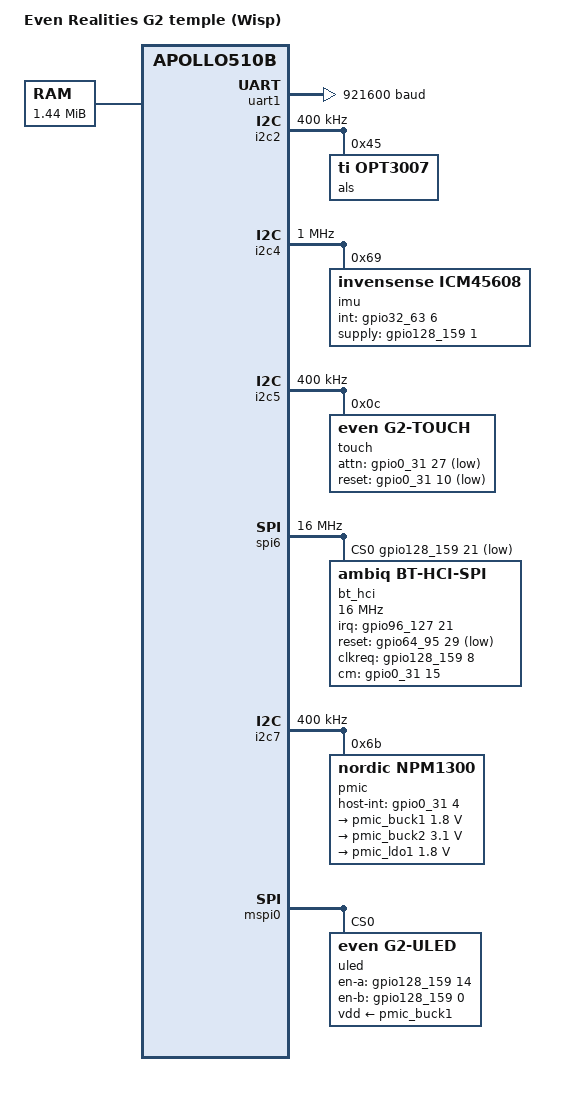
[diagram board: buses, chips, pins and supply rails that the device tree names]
/*
 * SPDX-License-Identifier: MIT
 *
 * wisp_g2 — one temple of the Even Realities G2, running Wisp natively.
 *
 * Template: the fork's apollo510b_evb (AmbiqMicro/ambiqzephyr, Apache-2.0). Facts and
 * sources: docs/wisp/hardware.md ("Native drivers": every bus, address, pad and sequence below
 * comes from the stock 2.4.0.24 image, with a confidence level there). Enabled: the debug UART,
 * the EM9305 BLE controller (IOM6), the I2C devices and the microLED panel. Nothing here has run
 * on glasses.
 */

/dts-v1/;
#include <ambiq/ambiq_apollo510b.dtsi>
#include "wisp_g2-pinctrl.dtsi"
#include <zephyr/dt-bindings/gpio/gpio.h>
#include <dt-bindings/regulator/npm13xx.h>

/ {
	model = "Even Realities G2 temple (Wisp)";
	compatible = "even,g2", "ambiq,apollo510b";

	chosen {
		zephyr,itcm = &itcm;
		zephyr,dtcm = &dtcm;
		zephyr,sram = &sram0;
		zephyr,flash-controller = &flash;
		zephyr,flash = &flash0;
		/* 0x438000: where the Even bootloader hands off (docs/wisp/hardware.md). */
		zephyr,code-partition = &wisp_partition;
		zephyr,console = &uart1;
		zephyr,shell-uart = &uart1;
		zephyr,bt-hci = &bt_hci;
	};

	/* Same split as the evb: 1.5 MiB cached SSRAM for the app ... */
	sram0: memory@SSRAM_BASE_NAME {
		compatible = "mmio-sram";
		reg = <SSRAM_BASE_ADDR 0x180000>;
	};

	/* ... and 1.4375 MiB uncached for DMA (panel frame, MSPI command queues). It ends at
	 * 0x20370000: the top 64 KiB of SSRAM belong to Wisp Boot (apps/wisp-fw/README.md). */
	sram_no_cache: memory@20200000 {
		compatible = "zephyr,memory-region", "mmio-sram";
		reg = <0x20200000 0x170000>;
		zephyr,memory-region = "SRAM_NO_CACHE";
		zephyr,memory-attr = <DT_MEM_ARM(ATTR_MPU_RAM_NOCACHE)>;
	};
};

/*
 * MRAM. flash0 starts at 0x410000 (the Ambiq SBL at 0x400000–0x410000 is outside it), so
 * partition offsets are relative to 0x410000. Everything except wisp_partition is stock and
 * read-only for Wisp (docs/wisp/safety.md rule 1). The 32-byte EVEN preamble at 0x437FE0 is
 * the last 32 bytes of even_bootloader's range; wisp-ota adds it, never the linker.
 */
&flash0 {
	partitions {
		compatible = "fixed-partitions";
		#address-cells = <1>;
		#size-cells = <1>;

		/* 0x410000–0x438000: Even bootloader (+ the main-app preamble at 0x437FE0). */
		even_bootloader: partition@0 {
			label = "even-bootloader";
			reg = <0x00000000 0x28000>;
			read-only;
		};

		/* 0x438000–0x7F8000: Wisp Boot + Wisp app. 0x7F8000 is the hard ceiling. */
		wisp_partition: partition@28000 {
			label = "wisp";
			reg = <0x00028000 0x3c0000>;
		};

		/* 0x7F8000–0x800000: update-flag record (0x7FE000) and NV/bond area. Never written. */
		even_nv: partition@3e8000 {
			label = "even-nv";
			reg = <0x003e8000 0x8000>;
			read-only;
		};
	};
};

/* Debug/log UART: GPIO12/14 at 921600, as stock 2.4.0.24 (UART table, hardware.md). */
&uart1 {
	current-speed = <921600>;
	pinctrl-0 = <&uart1_default>;
	pinctrl-1 = <&uart1_sleep>;
	pinctrl-names = "default", "sleep";
	status = "okay";
};

&stimer0 {
	/* TODO(G2 clocks): evb uses clk-source 3 (XTAL_32768 / LFRC). Unverified on the G2. */
	clk-source = <3>;
};

/*
 * Watchdog: stays off in M0. Wisp Boot owns it later (docs/wisp/safety.md, fallback-to-stock).
 * Stock runs it at about 30 s.
 */
&wdt0 {
	status = "disabled";
};

/* GPIO banks used by the drivers and the EM9305 below (pad numbers in hardware.md). */
&gpio0_31 {
	status = "okay";
};

&gpio32_63 {
	status = "okay";
};

&gpio64_95 {
	status = "okay";
};

&gpio96_127 {
	status = "okay";
};

&gpio128_159 {
	status = "okay";
};

&gpio192_223 {
	status = "okay";
};

/* ---------------------------------------------------------------------------------------- */
/* G2 peripherals. Facts: docs/wisp/hardware.md "Native drivers" (stock 2.4.0.24, static).     */
/* Every device starts suspended (zephyr,pm-device-runtime-auto): the HAL powers what it uses. */
/* ---------------------------------------------------------------------------------------- */

/* I2C2 (IOM2, GPIO25/26, 400 kHz): TI OPT3007 ambient light at 0x45, no INT pin. Stock starts
 * it on the right temple only; the left temple may not populate it (the driver then fails its
 * ID check and the HAL reports no light sensor). */
&iom2 {
	i2c2: i2c {
		pinctrl-0 = <&i2c2_default>;
		pinctrl-1 = <&i2c2_sleep>;
		pinctrl-names = "default", "sleep";
		clock-frequency = <I2C_BITRATE_FAST>;
		status = "okay";

		als: light@45 {
			compatible = "ti,opt3007";
			reg = <0x45>;
			conversion-time-ms = <100>;
			zephyr,pm-device-runtime-auto;
		};
	};
};

/* I2C4 (IOM4, GPIO34/35, 1 MHz): TDK ICM-45608 at 0x69, INT1 = GPIO38 (rising), rail GPIO129.
 * Magnetometer ICT1531x at 0x1E sits behind the IMU's own I2C master (not described here). */
&iom4 {
	i2c4: i2c {
		pinctrl-0 = <&i2c4_default>;
		pinctrl-1 = <&i2c4_sleep>;
		pinctrl-names = "default", "sleep";
		clock-frequency = <I2C_BITRATE_FAST_PLUS>;
		status = "okay";

		imu: imu@69 {
			compatible = "invensense,icm45608";
			reg = <0x69>;
			int-gpios = <&gpio32_63 6 GPIO_ACTIVE_HIGH>;      /* GPIO38 */
			supply-gpios = <&gpio128_159 1 GPIO_ACTIVE_HIGH>; /* GPIO129 */
			accel-fs-g = <4>;
			gyro-fs-dps = <2000>;
			zephyr,pm-device-runtime-auto;
		};
	};
};

/* I2C5 (IOM5, GPIO47/48, 400 kHz): PSoC 4000T touch + wear at 0x0C, Even's firmware. The
 * driver can never send its DFU command (safety rule 8). */
&iom5 {
	i2c5: i2c {
		pinctrl-0 = <&i2c5_default>;
		pinctrl-1 = <&i2c5_sleep>;
		pinctrl-names = "default", "sleep";
		clock-frequency = <I2C_BITRATE_FAST>;
		status = "okay";

		touch: touch@c {
			compatible = "even,g2-touch";
			reg = <0x0c>;
			attn-gpios = <&gpio0_31 27 GPIO_ACTIVE_LOW>;  /* GPIO27, falling edge */
			reset-gpios = <&gpio0_31 10 GPIO_ACTIVE_LOW>; /* GPIO10 */
			reset-settle-ms = <100>;
		};
	};
};

/*
 * BLE: the EM9305 controller (ambiq,bt-hci-spi) on IOM6, running Even's own EM9305 firmware.
 * Enabled for the Wisp GATT service. Safety rule 8: the HAL's EM9305 update, recovery and
 * trim paths are compiled out by Wisp's patch (third_party/ambiq/), every caller forces
 * skip_fw_update = true, and scripts/check_rule8.py proves both on every image.
 *
 * TODO(G2 pins): the pads are the apollo510b_evb's (fork, Apache-2.0, Ambiq Micro). On the
 * Apollo510B the EM9305 is in the package (SiP; the evb's board.c calls it "SIP EM9305"), so
 * these are probably the same on the G2, but they are unverified until read out of the stock
 * image. The CM pad is configured as an input and never driven (configuration mode is only
 * used by the firmware update, which is compiled out).
 */
&iom6 {
	spi6: spi {
		pinctrl-0 = <&spi6_default>;
		pinctrl-names = "default";
		clock-frequency = <DT_FREQ_M(16)>;
		cs-gpios = <&gpio128_159 21 (GPIO_ACTIVE_LOW | GPIO_PULL_UP)>;
		status = "okay";

		bt_hci: bt-hci@0 {
			compatible = "ambiq,bt-hci-spi";
			reg = <0>;
			spi-max-frequency = <DT_FREQ_M(16)>;
			irq-gpios = <&gpio96_127 21 GPIO_ACTIVE_HIGH>;
			reset-gpios = <&gpio64_95 29 GPIO_ACTIVE_LOW>;
			clkreq-gpios = <&gpio128_159 8 GPIO_ACTIVE_HIGH>;
			cm-gpios = <&gpio0_31 15 GPIO_ACTIVE_HIGH>;
			status = "okay";
		};
	};
};

/*
 * I2C7 (IOM7, GPIO22/23, 400 kHz): Nordic nPM1300 PMIC at 0x6B. Stock 2.4.0.24 always selects
 * it (the BQ25180 + BQ27427 path is dead code). IRQ: PMIC GPIO1 (GPOIRQ) -> Apollo GPIO4, rising.
 * Rails and charger values are exactly stock's; BUCK2 and LDO1 are always-on so no Wisp code
 * path can switch them off. The PMIC's timer is a 30.72 s watchdog that stock arms and kicks
 * every second; it survives an Apollo reset, so Wisp kicks it too (src/hal/native/power.c).
 */
&iom7 {
	i2c7: i2c {
		pinctrl-0 = <&i2c7_default>;
		pinctrl-1 = <&i2c7_sleep>;
		pinctrl-names = "default", "sleep";
		clock-frequency = <I2C_BITRATE_FAST>;
		status = "okay";

		pmic: pmic@6b {
			compatible = "nordic,npm1300";
			reg = <0x6b>;
			host-int-gpios = <&gpio0_31 4 GPIO_ACTIVE_HIGH>;
			pmic-int-pin = <1>;

			pmic_gpio: gpio-controller {
				compatible = "nordic,npm1300-gpio";
				gpio-controller;
				#gpio-cells = <2>;
				ngpios = <5>;
			};

			regulators {
				compatible = "nordic,npm1300-regulator";

				/* Panel core rail: off except while the panel runs (stock). 1.8 V on hw 6
				 * (A6N-G), 1.1 V on JBD boards (npmx codes 8 / 1, read as 1.0 V + 0.1 V
				 * steps [I]). The panel driver switches it. */
				pmic_buck1: BUCK1 {
					regulator-min-microvolt = <1800000>;
					regulator-max-microvolt = <1800000>;
				};

				pmic_buck2: BUCK2 {
					regulator-min-microvolt = <3100000>;
					regulator-max-microvolt = <3100000>;
					regulator-always-on;
				};

				pmic_ldo1: LDO1 {
					regulator-initial-mode = <NPM13XX_LDSW_MODE_LDO>;
					regulator-min-microvolt = <1800000>;
					regulator-max-microvolt = <1800000>;
					regulator-always-on;
				};

				/* Load switch, on for hw_version >= 4, off on hw 6 (Hongshi panel). Its load
				 * is not identified (JBD panel supply [I]); Wisp leaves it as it finds it. */
				pmic_ldsw2: LDO2 {
					regulator-initial-mode = <NPM13XX_LDSW_MODE_LDSW>;
				};
			};

			charger: charger {
				compatible = "nordic,npm1300-charger";
				term-microvolt = <4450000>;
				term-warm-microvolt = <4100000>;
				current-microamp = <96000>;
				dischg-limit-microamp = <1000000>;
				vbus-limit-microamp = <500000>;
				thermistor-ohms = <100000>;
				thermistor-beta = <4250>;
				thermistor-cold-millidegrees = <0>;
				thermistor-cool-millidegrees = <10000>;
				thermistor-warm-millidegrees = <45000>;
				thermistor-hot-millidegrees = <60000>;
				vbatlow-charge-enable;
				charging-enable;
			};

			pmic_wdt: watchdog {
				compatible = "nordic,npm1300-wdt";
			};
		};
	};
};

/*
 * MSPI0: the microLED panel on CE0 (GPIO199, MNCE0_0). Serial: D0 GPIO64, D1 GPIO65, SCK GPIO72;
 * quad 1-1-4 adds D2 GPIO66, D3 GPIO67. Stock: IRQ 20, SPI mode 0. Which panel is fitted follows
 * the board's hw_version strap (6 = A6N-G, DVT3; 5 = JBD4010, DVT2): A6N-G is the default here
 * because DVT3 is the later build [I]; tests/drivers/jbd4010.overlay switches to the JBD panel.
 */
&mspi0 {
	/* State 2 is the per-device state the Ambiq MSPI driver applies on a device config. */
	pinctrl-0 = <&mspi0_default>;
	pinctrl-1 = <&mspi0_sleep>;
	pinctrl-2 = <&mspi0_default>;
	pinctrl-names = "default", "sleep", "panel";
	ce-gpios = <&gpio192_223 7 GPIO_ACTIVE_LOW>;
	cmdq-buffer-location = "SRAM_NO_CACHE";
	cmdq-buffer-size = <256>;
	zephyr,pm-device-runtime-auto;
	status = "okay";

	uled: panel@0 {
		compatible = "even,g2-uled";
		reg = <0>;
		panel = "a6n-g";
		mspi-max-frequency = <31250000>;
		mspi-io-mode = "MSPI_IO_MODE_QUAD_1_1_4";
		mspi-data-rate = "MSPI_DATA_RATE_SINGLE";
		mspi-hardware-ce-num = <0>;
		vdd-supply = <&pmic_buck1>;
		en-a-gpios = <&gpio128_159 14 GPIO_ACTIVE_HIGH>; /* GPIO142 */
		en-b-gpios = <&gpio128_159 0 GPIO_ACTIVE_HIGH>;  /* GPIO128 */
		offset-x = <8>;
		offset-y = <8>;
		zephyr,pm-device-runtime-auto;
	};
};

/*
 * MSPI1: the NOR (MX25U25643G or GD25LE256H), pads 49, 95-98, 103. Owned by Wisp Boot today;
 * the app's littlefs driver comes with the storage HAL.
 */
&mspi1 {
	status = "disabled";
};

/* PDM0 (GPIO50/51): a second mic path; which mic it carries is open. */
&pdm0 {
	status = "disabled";
};

/* I2S0 RX slave (CLK GPIO100, WS GPIO102, DATA GPIO101): GX8002 PCM. Codec firmware stays stock;
 * its control UART is UART3 (TX GPIO73, RX GPIO69, 115200), power GPIO134 -> 143 -> 146. */
&i2s0 {
	status = "disabled";
};

/* NemaGFX GPU: not used by the flush path. */
&gpu {
	status = "disabled";
};

/*
 * Not described yet: buzzer (GPIO145 = TIMER7 output 0, PWM), inter-temple link (UART0, GPIO0/2,
 * 921600), case link (UART2, GPIO42/44, 1 Mbaud; the case itself is seen as VBUS on the PMIC).
 */
